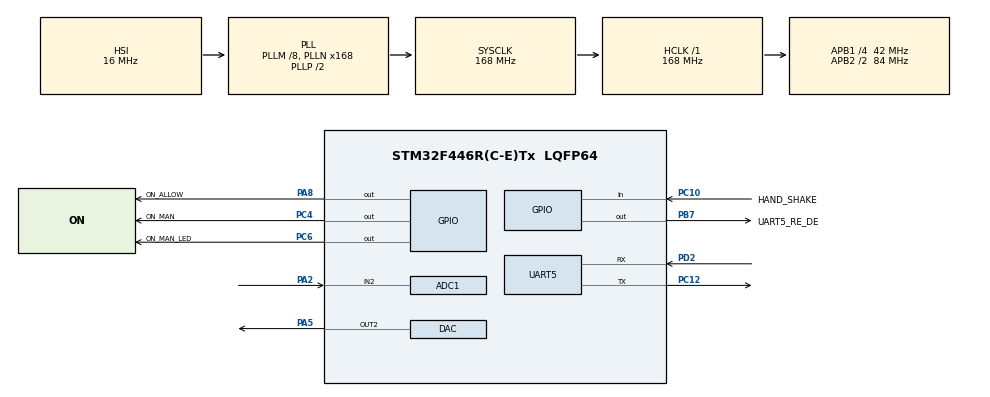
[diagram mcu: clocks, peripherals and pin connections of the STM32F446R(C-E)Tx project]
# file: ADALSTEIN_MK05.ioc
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ADC1.Channel-0\#ChannelRegularConversion=ADC_CHANNEL_2
ADC1.NbrOfConversionFlag=1
ADC1.Rank-0\#ChannelRegularConversion=1
ADC1.SamplingTime-0\#ChannelRegularConversion=ADC_SAMPLETIME_3CYCLES
ADC1.master=1
Mcu.Family=STM32F4
Mcu.Name=STM32F446R(C-E)Tx
Mcu.Package=LQFP64
NVIC.PriorityGroup=NVIC_PRIORITYGROUP_4
NVIC.UART5_IRQn=true\:0\:0\:false\:false\:true\:true\:true\:true
PA11.Signal=USB_OTG_FS_DM
PA12.Signal=USB_OTG_FS_DP
PA13.Mode=Serial_Wire
PA13.Signal=SYS_JTMS-SWDIO
PA14.Mode=Serial_Wire
PA14.Signal=SYS_JTCK-SWCLK
PA2.Signal=ADCx_IN2
PA5.Signal=COMP_DAC2_group
PA8.GPIO_Label=ON_ALLOW
PA8.Signal=GPIO_Output
PB7.GPIO_Label=UART5_RE_DE
PB7.Signal=GPIO_Output
PC10.GPIO_Label=HAND_SHAKE
PC10.Signal=GPIO_Input
PC12.Mode=Asynchronous
PC12.Signal=UART5_TX
PC4.GPIO_Label=ON_MAN
PC4.Signal=GPIO_Output
PC6.GPIO_Label=ON_MAN_LED
PC6.Signal=GPIO_Output
PD2.Mode=Asynchronous
PD2.Signal=UART5_RX
ProjectManager.HeapSize=0x200
ProjectManager.StackSize=0x400
ProjectManager.TargetToolchain=STM32CubeIDE
RCC.AHBFreq_Value=168000000
RCC.APB1CLKDivider=RCC_HCLK_DIV4
RCC.APB1Freq_Value=42000000
RCC.APB1TimFreq_Value=84000000
RCC.APB2CLKDivider=RCC_HCLK_DIV2
RCC.APB2Freq_Value=84000000
RCC.APB2TimFreq_Value=168000000
RCC.CortexFreq_Value=168000000
RCC.HCLKFreq_Value=168000000
RCC.PLLM=8
RCC.PLLN=168
RCC.SYSCLKFreq_VALUE=168000000
RCC.SYSCLKSource=RCC_SYSCLKSOURCE_PLLCLK
RCC.USBFreq_Value=168000000
RCC.VCOOutputFreq_Value=336000000
SH.ADCx_IN2.0=ADC1_IN2,IN2
SH.COMP_DAC2_group.0=DAC_OUT2,DAC_OUT2
UART5.VirtualMode=Asynchronous
board=custom

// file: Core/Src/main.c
/* USER CODE BEGIN Header */
/**
  ******************************************************************************
  * @file           : main.c
  * @brief          : Main program body
  ******************************************************************************
  * @attention
  *
  * Copyright (c) 2026 STMicroelectronics.
  * All rights reserved.
  *
  * This software is licensed under terms that can be found in the LICENSE file
  * in the root directory of this software component.
  * If no LICENSE file comes with this software, it is provided AS-IS.
  *
  ******************************************************************************
  */
/* USER CODE END Header */
#include "main.h"

/* USER CODE BEGIN Includes */
#include "common.h"
/* USER CODE END Includes */

ADC_HandleTypeDef hadc1;

DAC_HandleTypeDef hdac;

UART_HandleTypeDef huart5;

/* USER CODE BEGIN PV */

uint32_t millisec = 0;

uint16_t dac_value = 0;
uint16_t prev_dac_value = 0;
uint16_t prev_dac_value_stable = 0;

char* commands[8] = {0, "ADC", "ON", "OFF", "POWEROFF", "TEST_VOLTAGE", "SET_VOLTAGE", "?"};

uint8_t tx_buff[100];
uint8_t tx_size = 0;
uint8_t rx_buff;
uint8_t rx_count = 0;

bool tx_flag = false;
bool mantigora_on_flag = false;
bool repeat_flag = false;
bool dac_set_flag = false;
bool on_finish_flag = true;
bool dac_voltage_setted_flag = false;
bool ok_flag = true;
bool up_flag = true;
/* USER CODE END PV */

void SystemClock_Config(void);
static void MX_GPIO_Init(void);
static void MX_ADC1_Init(void);
static void MX_DAC_Init(void);
static void MX_UART5_Init(void);

int main(void)
{

  /* MCU Configuration--------------------------------------------------------*/

  /* Reset of all peripherals, Initializes the Flash interface and the Systick. */
  HAL_Init();

  /* Configure the system clock */
  SystemClock_Config();

  /* Initialize all configured peripherals */
  MX_GPIO_Init();
  MX_ADC1_Init();
  MX_DAC_Init();
  MX_UART5_Init();
  /* USER CODE BEGIN 2 */
  HAL_GPIO_WritePin(ON_ALLOW_GPIO_Port, ON_ALLOW_Pin, GPIO_PIN_SET);
  HAL_GPIO_WritePin(ON_MAN_LED_GPIO_Port, ON_MAN_LED_Pin, GPIO_PIN_SET);
  HAL_Delay(500);
  HAL_GPIO_WritePin(ON_ALLOW_GPIO_Port, ON_ALLOW_Pin, GPIO_PIN_RESET);
  HAL_GPIO_WritePin(ON_MAN_LED_GPIO_Port, ON_MAN_LED_Pin, GPIO_PIN_RESET);
  HAL_Delay(500);

  HAL_GPIO_WritePin(ON_ALLOW_GPIO_Port, ON_ALLOW_Pin, GPIO_PIN_SET);

  HAL_DAC_Start(&hdac, DAC_CHANNEL_2);
  HAL_DAC_SetValue(&hdac, DAC_CHANNEL_2, DAC_ALIGN_12B_R, dac_value);

  HAL_UART_Receive_IT(&main_uart, &rx_buff, 1);
  HAL_GPIO_WritePin(UART5_RE_DE_GPIO_Port, UART5_RE_DE_Pin, RECEIVE);
  /* USER CODE END 2 */

  /* Infinite loop */
  /* USER CODE BEGIN WHILE */
  while (1)
  {
	dac_set();

	if(tx_flag)
	{
		process_data(tx_buff);
	}
    /* USER CODE END WHILE */

  }
}

void SystemClock_Config(void)
{
  RCC_OscInitTypeDef RCC_OscInitStruct = {0};
  RCC_ClkInitTypeDef RCC_ClkInitStruct = {0};

  /** Configure the main internal regulator output voltage
  */
  __HAL_RCC_PWR_CLK_ENABLE();
  __HAL_PWR_VOLTAGESCALING_CONFIG(PWR_REGULATOR_VOLTAGE_SCALE1);

  /** Initializes the RCC Oscillators according to the specified parameters
  * in the RCC_OscInitTypeDef structure.
  */
  RCC_OscInitStruct.OscillatorType = RCC_OSCILLATORTYPE_HSI;
  RCC_OscInitStruct.HSIState = RCC_HSI_ON;
  RCC_OscInitStruct.HSICalibrationValue = RCC_HSICALIBRATION_DEFAULT;
  RCC_OscInitStruct.PLL.PLLState = RCC_PLL_ON;
  RCC_OscInitStruct.PLL.PLLSource = RCC_PLLSOURCE_HSI;
  RCC_OscInitStruct.PLL.PLLM = 8;
  RCC_OscInitStruct.PLL.PLLN = 168;
  RCC_OscInitStruct.PLL.PLLP = RCC_PLLP_DIV2;
  RCC_OscInitStruct.PLL.PLLQ = 2;
  RCC_OscInitStruct.PLL.PLLR = 2;
  if (HAL_RCC_OscConfig(&RCC_OscInitStruct) != HAL_OK)
  {
    Error_Handler();
  }

  /** Initializes the CPU, AHB and APB buses clocks
  */
  RCC_ClkInitStruct.ClockType = RCC_CLOCKTYPE_HCLK|RCC_CLOCKTYPE_SYSCLK
                              |RCC_CLOCKTYPE_PCLK1|RCC_CLOCKTYPE_PCLK2;
  RCC_ClkInitStruct.SYSCLKSource = RCC_SYSCLKSOURCE_PLLCLK;
  RCC_ClkInitStruct.AHBCLKDivider = RCC_SYSCLK_DIV1;
  RCC_ClkInitStruct.APB1CLKDivider = RCC_HCLK_DIV4;
  RCC_ClkInitStruct.APB2CLKDivider = RCC_HCLK_DIV2;

  if (HAL_RCC_ClockConfig(&RCC_ClkInitStruct, FLASH_LATENCY_5) != HAL_OK)
  {
    Error_Handler();
  }
}

static void MX_ADC1_Init(void)
{

  ADC_ChannelConfTypeDef sConfig = {0};

  /** Configure the global features of the ADC (Clock, Resolution, Data Alignment and number of conversion)
  */
  hadc1.Instance = ADC1;
  hadc1.Init.ClockPrescaler = ADC_CLOCK_SYNC_PCLK_DIV4;
  hadc1.Init.Resolution = ADC_RESOLUTION_12B;
  hadc1.Init.ScanConvMode = DISABLE;
  hadc1.Init.ContinuousConvMode = DISABLE;
  hadc1.Init.DiscontinuousConvMode = DISABLE;
  hadc1.Init.ExternalTrigConvEdge = ADC_EXTERNALTRIGCONVEDGE_NONE;
  hadc1.Init.ExternalTrigConv = ADC_SOFTWARE_START;
  hadc1.Init.DataAlign = ADC_DATAALIGN_RIGHT;
  hadc1.Init.NbrOfConversion = 1;
  hadc1.Init.DMAContinuousRequests = DISABLE;
  hadc1.Init.EOCSelection = ADC_EOC_SINGLE_CONV;
  if (HAL_ADC_Init(&hadc1) != HAL_OK)
  {
    Error_Handler();
  }

  /** Configure for the selected ADC regular channel its corresponding rank in the sequencer and its sample time.
  */
  sConfig.Channel = ADC_CHANNEL_2;
  sConfig.Rank = 1;
  sConfig.SamplingTime = ADC_SAMPLETIME_3CYCLES;
  if (HAL_ADC_ConfigChannel(&hadc1, &sConfig) != HAL_OK)
  {
    Error_Handler();
  }

}

static void MX_DAC_Init(void)
{

  DAC_ChannelConfTypeDef sConfig = {0};

  /** DAC Initialization
  */
  hdac.Instance = DAC;
  if (HAL_DAC_Init(&hdac) != HAL_OK)
  {
    Error_Handler();
  }

  /** DAC channel OUT2 config
  */
  sConfig.DAC_Trigger = DAC_TRIGGER_NONE;
  sConfig.DAC_OutputBuffer = DAC_OUTPUTBUFFER_ENABLE;
  if (HAL_DAC_ConfigChannel(&hdac, &sConfig, DAC_CHANNEL_2) != HAL_OK)
  {
    Error_Handler();
  }

}

static void MX_UART5_Init(void)
{

  huart5.Instance = UART5;
  huart5.Init.BaudRate = 115200;
  huart5.Init.WordLength = UART_WORDLENGTH_8B;
  huart5.Init.StopBits = UART_STOPBITS_1;
  huart5.Init.Parity = UART_PARITY_NONE;
  huart5.Init.Mode = UART_MODE_TX_RX;
  huart5.Init.HwFlowCtl = UART_HWCONTROL_NONE;
  huart5.Init.OverSampling = UART_OVERSAMPLING_16;
  if (HAL_UART_Init(&huart5) != HAL_OK)
  {
    Error_Handler();
  }

}

static void MX_GPIO_Init(void)
{
  GPIO_InitTypeDef GPIO_InitStruct = {0};

  /* GPIO Ports Clock Enable */
  __HAL_RCC_GPIOA_CLK_ENABLE();
  __HAL_RCC_GPIOC_CLK_ENABLE();
  __HAL_RCC_GPIOD_CLK_ENABLE();
  __HAL_RCC_GPIOB_CLK_ENABLE();

  /*Configure GPIO pin Output Level */
  HAL_GPIO_WritePin(GPIOC, ON_MAN_Pin|ON_MAN_LED_Pin, GPIO_PIN_RESET);

  /*Configure GPIO pin Output Level */
  HAL_GPIO_WritePin(ON_ALLOW_GPIO_Port, ON_ALLOW_Pin, GPIO_PIN_RESET);

  /*Configure GPIO pin Output Level */
  HAL_GPIO_WritePin(UART5_RE_DE_GPIO_Port, UART5_RE_DE_Pin, GPIO_PIN_RESET);

  /*Configure GPIO pins : ON_MAN_Pin ON_MAN_LED_Pin */
  GPIO_InitStruct.Pin = ON_MAN_Pin|ON_MAN_LED_Pin;
  GPIO_InitStruct.Mode = GPIO_MODE_OUTPUT_PP;
  GPIO_InitStruct.Pull = GPIO_NOPULL;
  GPIO_InitStruct.Speed = GPIO_SPEED_FREQ_LOW;
  HAL_GPIO_Init(GPIOC, &GPIO_InitStruct);

  /*Configure GPIO pin : ON_ALLOW_Pin */
  GPIO_InitStruct.Pin = ON_ALLOW_Pin;
  GPIO_InitStruct.Mode = GPIO_MODE_OUTPUT_PP;
  GPIO_InitStruct.Pull = GPIO_NOPULL;
  GPIO_InitStruct.Speed = GPIO_SPEED_FREQ_LOW;
  HAL_GPIO_Init(ON_ALLOW_GPIO_Port, &GPIO_InitStruct);

  /*Configure GPIO pins : PA11 PA12 */
  GPIO_InitStruct.Pin = GPIO_PIN_11|GPIO_PIN_12;
  GPIO_InitStruct.Mode = GPIO_MODE_AF_PP;
  GPIO_InitStruct.Pull = GPIO_NOPULL;
  GPIO_InitStruct.Speed = GPIO_SPEED_FREQ_VERY_HIGH;
  GPIO_InitStruct.Alternate = GPIO_AF10_OTG_FS;
  HAL_GPIO_Init(GPIOA, &GPIO_InitStruct);

  /*Configure GPIO pin : HAND_SHAKE_Pin */
  GPIO_InitStruct.Pin = HAND_SHAKE_Pin;
  GPIO_InitStruct.Mode = GPIO_MODE_INPUT;
  GPIO_InitStruct.Pull = GPIO_NOPULL;
  HAL_GPIO_Init(HAND_SHAKE_GPIO_Port, &GPIO_InitStruct);

  /*Configure GPIO pin : UART5_RE_DE_Pin */
  GPIO_InitStruct.Pin = UART5_RE_DE_Pin;
  GPIO_InitStruct.Mode = GPIO_MODE_OUTPUT_PP;
  GPIO_InitStruct.Pull = GPIO_NOPULL;
  GPIO_InitStruct.Speed = GPIO_SPEED_FREQ_LOW;
  HAL_GPIO_Init(UART5_RE_DE_GPIO_Port, &GPIO_InitStruct);

}

/* USER CODE BEGIN 4 */
void HAL_UART_RxCpltCallback(UART_HandleTypeDef *huart) {
	//1 = TX, 0 = RX control pin - PG3 usr_name - UART_RS485
	if(rx_buff == '\n')
	{
		tx_buff[rx_count - 1] = '\0';
		tx_size = rx_count + 1;
		rx_count = 0;

		tx_flag = true;
	}
	else
	{
		tx_buff[rx_count] = rx_buff;

		++rx_count;
	}

	HAL_UART_Receive_IT(&main_uart, &rx_buff, 1);
}

void process_data(uint8_t* data) {
	tx_flag = false;
	uint8_t command = 0;

	for(uint8_t i = 0; i < sizeof(commands)/sizeof(commands[0]); ++i)
	{
		if(strncmp(commands[i], (char*) tx_buff, tx_size-1) == 0)
		{
			command = i;
			break;
		}
		else
		{
			continue;
		}
	}

	switch(command) {
		case CASE_ADC:
			uint16_t adc_value = get_adc_value();
			float fadc_value = ((float) adc_value)/4095*1650;

			printf("MANTIGORA VOLTAGE: %.3f\n", fadc_value);

			break;
		case CASE_ON:
			if(!mantigora_on_flag)
			{
				printf("MANTIGORA ONNING...\n");
				mantigora_on_flag = true;
				on_finish_flag = false;
				HAL_GPIO_WritePin(ON_ALLOW_GPIO_Port, ON_ALLOW_Pin, GPIO_PIN_RESET);
				dac_set_flag = true;
				HAL_GPIO_WritePin(ON_MAN_LED_GPIO_Port, ON_MAN_LED_Pin, GPIO_PIN_SET);
				HAL_GPIO_WritePin(ON_MAN_GPIO_Port, ON_MAN_Pin, GPIO_PIN_SET);
			}
			else
			{
				printf("MANTIGORA ALREADY ONNED\n");
			}

			break;
		case CASE_OFF:
			if(mantigora_on_flag)
			{
				printf("MANTIGORA OFFING...\n");

				mantigora_on_flag = false;
				HAL_GPIO_WritePin(ON_ALLOW_GPIO_Port, ON_ALLOW_Pin, GPIO_PIN_RESET);
				dac_set_flag = true;
			}
			else
			{
				printf("MANTIGORA ALREADY OFFED\n");
			}

			break;
		case CASE_POWEROFF:
			printf("MANTIGORA POWEROFF!!!\n");

			shutdown();

			break;
		case CASE_TEST_VOLTAGE:
			test_voltage();

			break;
		case CASE_SET_VOLTAGE:
			if(mantigora_on_flag)
			{
				HAL_GPIO_WritePin(ON_ALLOW_GPIO_Port, ON_ALLOW_Pin, GPIO_PIN_RESET);

				on_finish_flag = false;
				dac_set_flag = true;

				printf("SET_VOLTAGE\n");
			} else {
				printf("ERROR_SET_VOLTAGE\n");
			}

			break;
		case CASE_QUESTION_MARK:
			printf("List of commands:\n"
				   "ADC - receive voltage from ADC*500\n"
				   "ON - on mantigora voltage source steady\n"
				   "OFF - off mantigora voltage source steady\n"
				   "POWEROFF - shutdown mantigora abruptly\n"
				   "TEST_VOLTAGE - test mantigora voltage rightness\n"
				   "SET_VOLTAGE - set mantigora voltage if voltage specified\n"
				   "? - show that list\n"
				   "XXXX - set value for buffer that after be used for SET_VOLTAGE,\n"
				   "TEST_VOLTAGE or ON. After OFF/SHUTDOWN this value wiped. Limits:\n"
				   "0-1500.");
		default:
			ok_flag = false;
			break;
	};

	if (tx_buff[0] >= '0' && tx_buff[0] <= '9')
	{
		uint16_t dec = atoi((char*) tx_buff);

		if(( (dec >= MIN_DAC_VALUE) &&
		   (dec <= MAX_DAC_VALUE) ) ||
		   (dec - MIN_DAC_VALUE == 0))
		{
			dac_value = (uint16_t) (  ( (uint32_t)(dec*4095) )/1650  );
			dac_voltage_setted_flag = false;
			printf("%d\n", dec);
			ok_flag = true;
		}
	}
	else if (!ok_flag)
	{
		printf("ERROR_WRONG_COMMAND\n");
		printf("TYPE \"?\" FOR HELP!\n");
		ok_flag = true;
	}

	memset(tx_buff, 0, tx_size);
}

void send_data(uint8_t* data) {
	//1 = TX, 0 = RX
	HAL_GPIO_WritePin(UART5_RE_DE_GPIO_Port, UART5_RE_DE_Pin, TRANSFER);
	HAL_UART_Transmit(&main_uart, tx_buff, 2, HAL_MAX_DELAY);
	HAL_GPIO_WritePin(UART5_RE_DE_GPIO_Port, UART5_RE_DE_Pin, RECEIVE);
}

void dac_set() {
	if((HAL_GetTick() - millisec > 30) && dac_set_flag)
	{
		millisec = HAL_GetTick();

		if(dac_value > prev_dac_value_stable)
		{
			up_flag = true;
		}
		else if(dac_value < prev_dac_value_stable)
		{
			up_flag = false;
		}

		if(mantigora_on_flag && !on_finish_flag)
		{
			if((dac_value > prev_dac_value) &&
			   (dac_value > prev_dac_value) &&
			   up_flag)
			{
				prev_dac_value += THREE_VOLTS_MANTIGORA;

				HAL_DAC_SetValue(&hdac, DAC_CHANNEL_2, DAC_ALIGN_12B_R, prev_dac_value);
			}
			else if((dac_value < prev_dac_value) &&
					  (prev_dac_value > dac_value) &&
					  !up_flag)
			{
				prev_dac_value -= THREE_VOLTS_MANTIGORA;

				HAL_DAC_SetValue(&hdac, DAC_CHANNEL_2, DAC_ALIGN_12B_R, prev_dac_value);
			}
			else
			{
				on_finish_flag = true;
			}
		}
		else if(!mantigora_on_flag && prev_dac_value > 0)
		{
			if(prev_dac_value - THREE_VOLTS_MANTIGORA <= 0)
			{
				prev_dac_value = 0;
			}
			else
			{
				prev_dac_value -= THREE_VOLTS_MANTIGORA;
			}

			HAL_DAC_SetValue(&hdac, DAC_CHANNEL_2, DAC_ALIGN_12B_R, prev_dac_value);
		}
		else
		{
			dac_set_flag = 0;

			if(mantigora_on_flag == 0)
			{
				dac_value = 0;

				HAL_GPIO_WritePin(ON_MAN_GPIO_Port, ON_MAN_Pin, GPIO_PIN_RESET);
				HAL_GPIO_WritePin(ON_MAN_LED_GPIO_Port, ON_MAN_LED_Pin, GPIO_PIN_RESET);
			}

			HAL_DAC_SetValue(&hdac, DAC_CHANNEL_2, DAC_ALIGN_12B_R, dac_value);

			HAL_GPIO_WritePin(ON_ALLOW_GPIO_Port, ON_ALLOW_Pin, GPIO_PIN_SET);

			dac_voltage_setted_flag = true;
			prev_dac_value = dac_value;
			prev_dac_value_stable = dac_value;
		}
	}
}

void shutdown()
{
	HAL_GPIO_WritePin(ON_MAN_GPIO_Port, ON_MAN_Pin, GPIO_PIN_RESET);
	HAL_GPIO_WritePin(ON_MAN_LED_GPIO_Port, ON_MAN_LED_Pin, GPIO_PIN_RESET);
	HAL_GPIO_WritePin(ON_ALLOW_GPIO_Port, ON_ALLOW_Pin, GPIO_PIN_RESET);

	dac_value = 0;
	HAL_DAC_SetValue(&hdac, DAC_CHANNEL_2, DAC_ALIGN_12B_R, dac_value);
	prev_dac_value = dac_value;
	dac_voltage_setted_flag = true;

	HAL_GPIO_WritePin(ON_ALLOW_GPIO_Port, ON_ALLOW_Pin, GPIO_PIN_SET);
}

void test_voltage()
{
	uint16_t adc_value = get_adc_value();

	if((adc_value < (dac_value+124)) &&
	  (adc_value > (dac_value-124)) &&
	   dac_voltage_setted_flag)
	{
		printf("VOLTAGE FINE!\n");
		return;
	}
	else if(!dac_voltage_setted_flag)
	{
		printf("ERROR NEW DAC VALUE NOT SETTED PLEASE WAIT\n");
		return;
	}
	else
	{
		shutdown();

		printf("ERROR TESTING VOLTAGE\n");
		return;
	}

	printf("VOLTAGE UNEXPECTED ERROR!\n");
}

uint16_t get_adc_value()
{
	uint16_t adc_value = 0;
	HAL_ADC_Start(&hadc1);
	HAL_ADC_PollForConversion(&hadc1, 100);
	adc_value = HAL_ADC_GetValue(&hadc1);
	HAL_ADC_Stop(&hadc1);

	return adc_value;
}

int _write(int file, char *ptr, int len)
{
	(void)file;

	if(file)
	{
		HAL_GPIO_WritePin(UART5_RE_DE_GPIO_Port, UART5_RE_DE_Pin, TRANSFER);
		HAL_UART_Transmit(&main_uart, (uint8_t*) ptr, len, HAL_MAX_DELAY);
		HAL_GPIO_WritePin(UART5_RE_DE_GPIO_Port, UART5_RE_DE_Pin, RECEIVE);
	}

	return len;
}

/* USER CODE END 4 */

void Error_Handler(void)
{
  __disable_irq();
  while (1)
  {
  }
}
